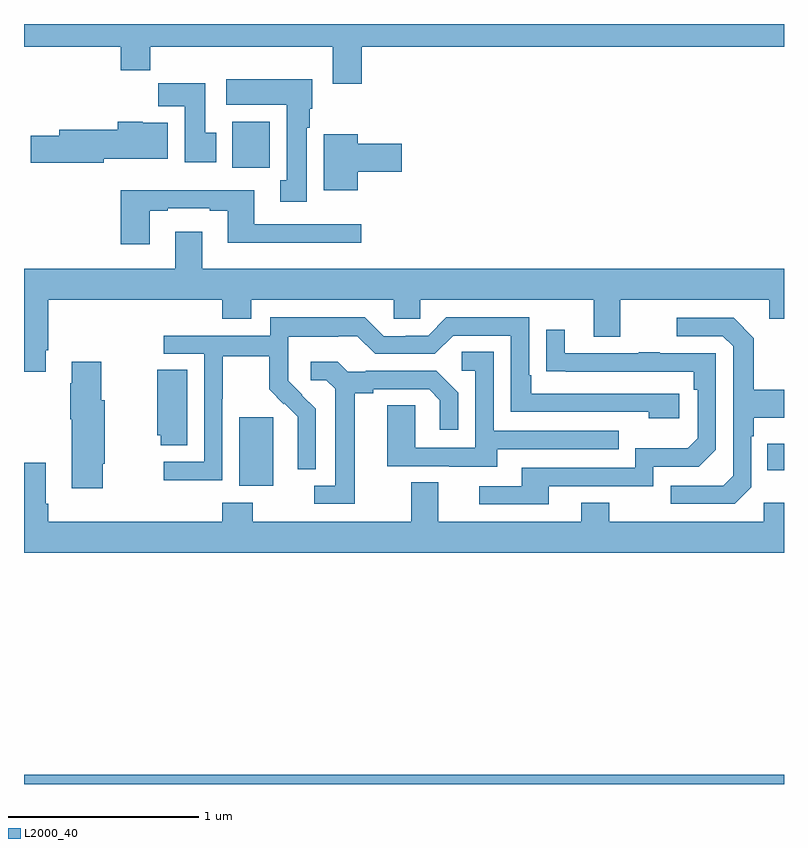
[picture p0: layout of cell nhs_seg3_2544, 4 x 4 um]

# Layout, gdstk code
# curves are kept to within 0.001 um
import gdstk
lib = gdstk.Library(unit=1e-6, precision=1e-09)
def R(c, l, rs):  # rectangles x0, y0, x1, y1
    for r in rs: c.add(gdstk.rectangle(r[:2], r[2:], *l))
def P(c, l, *ps):  # polygons
    for p in ps: c.add(gdstk.Polygon(p, *l))
L2000_40 = (2000, 40)

nhs_seg3_2544 = lib.new_cell('nhs_seg3_2544')
R(nhs_seg3_2544, L2000_40, [(243,666.4,247,666.448), (244.133,667.97,244.312,668.331), (246.913,668.051,247,668.191), (244.097,669.644,244.294,669.886)])
P(nhs_seg3_2544, L2000_40, [(244.778,670.28),(247,670.28),(247,670.4),(243,670.4),(243,670.28),(243.509,670.28),(243.509,670.156),(243.665,670.156),(243.665,670.28),(244.625,670.28),(244.625,670.086),(244.778,670.086)],
  [(244.489,669.854),(244.504,669.854),(244.504,669.954),(244.516,669.954),(244.516,670.108),(244.065,670.108),(244.065,669.974),(244.382,669.974),(244.382,669.578),(244.349,669.578),(244.349,669.465),(244.489,669.465)],
  [(244.012,669.828),(243.955,669.828),(243.955,670.087),(243.706,670.087),(243.706,669.968),(243.845,669.968),(243.845,669.672),(244.012,669.672)],
  [(243.42,669.692),(243.757,669.692),(243.757,669.88),(243.624,669.88),(243.624,669.886),(243.494,669.886),(243.494,669.843),(243.185,669.843),(243.185,669.813),(243.036,669.813),(243.036,669.671),(243.42,669.671)],
  [(244.756,669.623),(244.987,669.623),(244.987,669.77),(244.756,669.77),(244.756,669.82),(244.577,669.82),(244.577,669.524),(244.756,669.524)],
  [(243.661,669.417),(243.757,669.417),(243.757,669.429),(243.977,669.429),(243.977,669.417),(244.073,669.417),(244.073,669.248),(244.774,669.248),(244.774,669.345),(244.213,669.345),(244.213,669.526),(243.509,669.526),(243.509,669.24),(243.661,669.24)],
  [(243.115,668.683),(243.128,668.683),(243.128,668.948),(244.043,668.948),(244.043,668.849),(244.195,668.849),(244.195,668.948),(244.947,668.948),(244.947,668.85),(245.085,668.85),(245.085,668.948),(245.999,668.948),(245.999,668.754),(246.139,668.754),(246.139,668.948),(246.923,668.948),(246.923,668.849),(247,668.849),(247,669.112),(243.937,669.112),(243.937,669.307),(243.797,669.307),(243.797,669.112),(243,669.112),(243,668.571),(243.115,668.571)],
  [(244.044,668.428),(244.047,668.428),(244.047,668.652),(244.291,668.652),(244.291,668.477),(244.368,668.4),(244.371,668.403),(244.442,668.333),(244.442,668.21),(244.44,668.21),(244.44,668.056),(244.536,668.056),(244.536,668.374),(244.39,668.522),(244.39,668.619),(244.392,668.619),(244.392,668.753),(244.655,668.753),(244.655,668.757),(244.755,668.757),(244.848,668.664),(245.163,668.664),(245.259,668.76),(245.562,668.76),(245.562,668.358),(246.287,668.358),(246.287,668.324),(246.448,668.324),(246.448,668.454),(245.671,668.454),(245.671,668.551),(245.658,668.551),(245.658,668.856),(245.223,668.856),(245.127,668.76),(245.009,668.76),(245.009,668.757),(244.893,668.757),(244.793,668.857),(244.296,668.857),(244.296,668.76),(243.735,668.76),(243.735,668.664),(243.948,668.664),(243.948,668.097),(243.735,668.097),(243.735,667.999),(244.044,667.999)],
  [(246.828,667.962),(246.828,668.231),(246.841,668.231),(246.841,668.327),(247,668.327),(247,668.475),(246.841,668.475),(246.841,668.747),(246.735,668.853),(246.435,668.853),(246.435,668.757),(246.678,668.757),(246.732,668.703),(246.732,668.022),(246.681,667.971),(246.405,667.971),(246.405,667.875),(246.741,667.875)],
  [(245.761,667.968),(246.312,667.968),(246.312,668.07),(246.552,668.07),(246.642,668.16),(246.642,668.667),(246.347,668.667),(246.347,668.672),(246.235,668.672),(246.235,668.667),(245.845,668.667),(245.845,668.791),(245.749,668.791),(245.749,668.572),(246.526,668.571),(246.526,668.474),(246.546,668.474),(246.546,668.22),(246.493,668.167),(246.216,668.167),(246.216,668.064),(245.621,668.064),(245.621,667.968),(245.397,667.968),(245.397,667.872),(245.761,667.872)],
  [(245.491,668.163),(246.131,668.163),(246.131,668.259),(245.472,668.259),(245.472,668.675),(245.304,668.675),(245.304,668.574),(245.376,668.574),(245.376,668.169),(245.058,668.169),(245.058,668.393),(244.913,668.393),(244.913,668.073),(245.237,668.073),(245.237,668.069),(245.491,668.069)],
  [(244.741,668.456),(244.837,668.456),(244.837,668.478),(245.132,668.478),(245.189,668.421),(245.189,668.265),(245.286,668.265),(245.286,668.458),(245.17,668.574),(244.798,668.574),(244.798,668.571),(244.704,668.571),(244.652,668.623),(244.509,668.623),(244.509,668.526),(244.59,668.526),(244.637,668.479),(244.637,667.971),(244.527,667.971),(244.527,667.875),(244.741,667.875)],
  [(243.414,668.085),(243.424,668.085),(243.424,668.421),(243.406,668.421),(243.406,668.623),(243.251,668.623),(243.251,668.51),(243.244,668.51),(243.244,668.321),(243.251,668.321),(243.251,667.956),(243.414,667.956)],
  [(243.859,668.579),(243.701,668.579),(243.701,668.235),(243.721,668.235),(243.721,668.182),(243.859,668.182)],
  [(247,667.879),(246.894,667.879),(246.894,667.78),(246.081,667.78),(246.081,667.879),(245.933,667.879),(245.933,667.78),(245.179,667.78),(245.179,667.988),(245.039,667.988),(245.039,667.78),(244.203,667.78),(244.203,667.879),(244.043,667.879),(244.043,667.78),(243.128,667.78),(243.128,667.876),(243.115,667.876),(243.115,668.092),(243,668.092),(243,667.616),(247,667.616)])

lib.write_gds('nhs_seg3_2544.gds')
